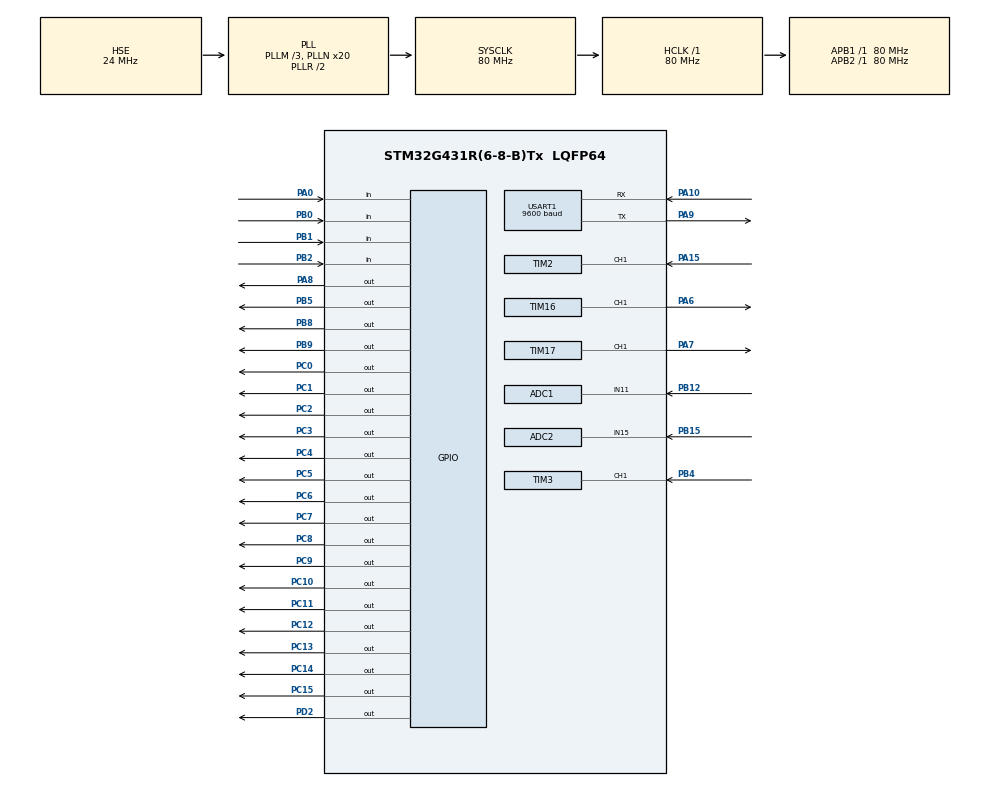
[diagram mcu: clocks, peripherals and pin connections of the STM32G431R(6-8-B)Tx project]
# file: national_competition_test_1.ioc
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ADC1.Channel-0\#ChannelRegularConversion=ADC_CHANNEL_11
ADC1.ContinuousConvMode=ENABLE
ADC1.NbrOfConversionFlag=1
ADC1.OffsetNumber-0\#ChannelRegularConversion=ADC_OFFSET_NONE
ADC1.Overrun=ADC_OVR_DATA_OVERWRITTEN
ADC1.Rank-0\#ChannelRegularConversion=1
ADC1.SamplingTime-0\#ChannelRegularConversion=ADC_SAMPLETIME_247CYCLES_5
ADC1.master=1
ADC2.Channel-0\#ChannelRegularConversion=ADC_CHANNEL_15
ADC2.ContinuousConvMode=ENABLE
ADC2.NbrOfConversionFlag=1
ADC2.OffsetNumber-0\#ChannelRegularConversion=ADC_OFFSET_NONE
ADC2.Overrun=ADC_OVR_DATA_OVERWRITTEN
ADC2.Rank-0\#ChannelRegularConversion=1
ADC2.SamplingTime-0\#ChannelRegularConversion=ADC_SAMPLETIME_247CYCLES_5
Mcu.Family=STM32G4
Mcu.Name=STM32G431R(6-8-B)Tx
Mcu.Package=LQFP64
NVIC.PriorityGroup=NVIC_PRIORITYGROUP_4
NVIC.TIM2_IRQn=true\:0\:0\:false\:false\:true\:true\:true\:true
NVIC.TIM3_IRQn=true\:0\:0\:false\:false\:true\:true\:true\:true
NVIC.TIM7_IRQn=true\:0\:0\:false\:false\:true\:true\:true\:true
NVIC.USART1_IRQn=true\:0\:0\:false\:false\:true\:true\:true\:true
PA0.Signal=GPIO_Input
PA10.Mode=Asynchronous
PA10.Signal=USART1_RX
PA13.Mode=Serial_Wire
PA13.Signal=SYS_JTMS-SWDIO
PA14.Mode=Serial_Wire
PA14.Signal=SYS_JTCK-SWCLK
PA15.Signal=S_TIM2_CH1
PA6.Signal=S_TIM16_CH1
PA7.Signal=S_TIM17_CH1
PA8.Signal=GPIO_Output
PA9.Mode=Asynchronous
PA9.Signal=USART1_TX
PB0.Signal=GPIO_Input
PB1.Signal=GPIO_Input
PB12.Mode=IN11-Single-Ended
PB12.Signal=ADC1_IN11
PB15.Mode=IN15-Single-Ended
PB15.Signal=ADC2_IN15
PB2.Signal=GPIO_Input
PB4.Signal=S_TIM3_CH1
PB5.Signal=GPIO_Output
PB8-BOOT0.Signal=GPIO_Output
PB9.Signal=GPIO_Output
PC0.Signal=GPIO_Output
PC1.Signal=GPIO_Output
PC10.Signal=GPIO_Output
PC11.Signal=GPIO_Output
PC12.Signal=GPIO_Output
PC13.Signal=GPIO_Output
PC14-OSC32_IN.Signal=GPIO_Output
PC15-OSC32_OUT.Signal=GPIO_Output
PC2.Signal=GPIO_Output
PC3.Signal=GPIO_Output
PC4.Signal=GPIO_Output
PC5.Signal=GPIO_Output
PC6.Signal=GPIO_Output
PC7.Signal=GPIO_Output
PC8.Signal=GPIO_Output
PC9.Signal=GPIO_Output
PD2.Signal=GPIO_Output
PF0-OSC_IN.Mode=HSE-External-Oscillator
PF0-OSC_IN.Signal=RCC_OSC_IN
PF1-OSC_OUT.Mode=HSE-External-Oscillator
PF1-OSC_OUT.Signal=RCC_OSC_OUT
ProjectManager.HeapSize=0x200
ProjectManager.StackSize=0x400
ProjectManager.TargetToolchain=MDK-ARM V5.32
RCC.ADC12Freq_Value=80000000
RCC.AHBFreq_Value=80000000
RCC.APB1Freq_Value=80000000
RCC.APB1TimFreq_Value=80000000
RCC.APB2Freq_Value=80000000
RCC.APB2TimFreq_Value=80000000
RCC.CortexFreq_Value=80000000
RCC.EXTERNAL_CLOCK_VALUE=12288000
RCC.HCLKFreq_Value=80000000
RCC.HSE_VALUE=24000000
RCC.HSI48_VALUE=48000000
RCC.HSI_VALUE=16000000
RCC.LSE_VALUE=32768
RCC.PLLM=RCC_PLLM_DIV3
RCC.PLLN=20
RCC.PLLSourceVirtual=RCC_PLLSOURCE_HSE
RCC.SYSCLKFreq_VALUE=80000000
RCC.SYSCLKSource=RCC_SYSCLKSOURCE_PLLCLK
RCC.USBFreq_Value=80000000
RCC.VCOOutputFreq_Value=160000000
RTC.Date=15
RTC.Format=RTC_FORMAT_BIN
RTC.Hours=23
RTC.Minutes=59
RTC.Month=RTC_MONTH_JUNE
RTC.Seconds=50
RTC.Year=25
SH.S_TIM16_CH1.0=TIM16_CH1,PWM Generation1 CH1
SH.S_TIM17_CH1.0=TIM17_CH1,PWM Generation1 CH1
SH.S_TIM2_CH1.0=TIM2_CH1,Input_Capture1_from_TI1
SH.S_TIM3_CH1.0=TIM3_CH1,Input_Capture1_from_TI1
TIM16.Channel=TIM_CHANNEL_1
TIM16.PeriodNoDither=100-1
TIM17.Channel=TIM_CHANNEL_1
TIM17.PeriodNoDither=100-1
TIM2.Channel-Input_Capture1_from_TI1=TIM_CHANNEL_1
TIM2.Prescaler=80-1
TIM3.Channel-Input_Capture1_from_TI1=TIM_CHANNEL_1
TIM3.Prescaler=80-1
TIM7.PeriodNoDither=1000-1
TIM7.Prescaler=80-1
USART1.BaudRate=9600
USART1.VirtualMode-Asynchronous=VM_ASYNC
VP_RTC_VS_RTC_Activate.Mode=RTC_Enabled
VP_RTC_VS_RTC_Calendar.Mode=RTC_Calendar
VP_SYS_VS_DBSignals.Mode=DisableDeadBatterySignals
VP_TIM16_VS_ClockSourceINT.Mode=Enable_Timer
VP_TIM17_VS_ClockSourceINT.Mode=Enable_Timer
VP_TIM2_VS_ClockSourceINT.Mode=Internal
VP_TIM3_VS_ClockSourceINT.Mode=Internal
VP_TIM7_VS_ClockSourceINT.Mode=Enable_Timer
board=custom

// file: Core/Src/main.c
/* USER CODE BEGIN Header */
/**
  ******************************************************************************
  * @file           : main.c
  * @brief          : Main program body
  ******************************************************************************
  * @attention
  *
  * Copyright (c) 2026 STMicroelectronics.
  * All rights reserved.
  *
  * This software is licensed under terms that can be found in the LICENSE file
  * in the root directory of this software component.
  * If no LICENSE file comes with this software, it is provided AS-IS.
  *
  ******************************************************************************
  */
/* USER CODE END Header */
#include "main.h"
#include "adc.h"
#include "rtc.h"
#include "tim.h"
#include "usart.h"
#include "gpio.h"

/* USER CODE BEGIN Includes */
#include "key.h"
#include "led.h"
#include "lcd.h"
#include "tim_interruct.h"
#include <stdio.h>
#include "my_adc.h"
#include "tim_ic.h"
#include "my_uart.h"
#include <string.h>
/* USER CODE END Includes */

/* USER CODE BEGIN PD */

//lcd_mode		3
#define recn_ST		0
#define recn_FT		1

/* USER CODE END PD */

/* USER CODE BEGIN PV */
extern uint8_t tx_buf[20];

//lcd_mode	0
uint8_t digit_255;
uint8_t secret_show_temp,secret_show_temp_old;
uint8_t secret_real[10] = {'A','3','5','#',' ',' ',' ',' ',' ',' '};
uint8_t secret_buf[11] = {' ',' ',' ',' ',' ',' ',' ',' ',' ',' '};
uint8_t secret_index;
uint8_t cmp_flag;
uint8_t call_signal;

//lcd_mode	1
uint8_t lcd_mode_1_para_select;

uint8_t F_show = 10;

uint8_t T_show = 5;

uint8_t CH_show = PWM_PA6;

uint8_t D_show = 20;

//lcd_mode	2
uint8_t F = 10;
uint8_t CH = PWM_PA6;
uint8_t T = 5;
uint8_t OD;
double OF;

double R38_convert_to_F;
double CF;

uint8_t secret_verify_flag;
uint8_t RETRY = 4;
uint8_t WAIT;
uint8_t lcd_mode_2_lock_flag;

uint8_t lcd_mode_2_lock_3000ms_flag;

//
uint8_t lcd_mode;
uint8_t lcd_fuc_slow,lcd_fuc_flag;
uint8_t lcd_buf[20];

uint8_t lcd_line_4_clear_flag;

//lcd_mode	3
uint8_t recn_h[2],recn_m[2],recn_s[2];
uint16_t recn_OF[2];
uint8_t ST_flag,FT_flag;
uint8_t SN,FN;

RTC_TimeTypeDef sTime = {0};
RTC_DateTypeDef sDate = {0};
/* USER CODE END PV */

void SystemClock_Config(void);
/* USER CODE BEGIN PFP */
void key_fuc(void);
void adc_fuc(void);
void lcd_fuc(void);
void read_sercret_temp(void);
/* USER CODE END PFP */

int main(void)
{

  /* MCU Configuration--------------------------------------------------------*/

  /* Reset of all peripherals, Initializes the Flash interface and the Systick. */
  HAL_Init();

  /* Configure the system clock */
  SystemClock_Config();

  /* Initialize all configured peripherals */
  MX_GPIO_Init();
  MX_TIM7_Init();
  MX_ADC1_Init();
  MX_ADC2_Init();
  MX_TIM2_Init();
  MX_TIM3_Init();
  MX_RTC_Init();
  MX_USART1_UART_Init();
  MX_TIM16_Init();
  MX_TIM17_Init();
  /* USER CODE BEGIN 2 */
  led_all_off();
LCD_Init();
HAL_Delay(50);
LCD_SetTextColor(White);
LCD_SetBackColor(Black);
LCD_Clear(Black);
HAL_Delay(50);

tim_interrupt_init();
R37_init();
R38_init();

tim_ic_init();

HAL_UARTEx_ReceiveToIdle_IT(&huart1,rx_buf,50);

read_sercret_temp();
secret_show_temp_old = secret_show_temp;

sprintf((char*)tx_buf,"S:20250244");
  /* USER CODE END 2 */

  /* Infinite loop */
  /* USER CODE BEGIN WHILE */

  while (1)
  {
	  key_fuc();
//	  adc_fuc();
	  lcd_fuc();
    /* USER CODE END WHILE */

  }
}

void SystemClock_Config(void)
{
  RCC_OscInitTypeDef RCC_OscInitStruct = {0};
  RCC_ClkInitTypeDef RCC_ClkInitStruct = {0};

  /** Configure the main internal regulator output voltage
  */
  HAL_PWREx_ControlVoltageScaling(PWR_REGULATOR_VOLTAGE_SCALE1);

  /** Initializes the RCC Oscillators according to the specified parameters
  * in the RCC_OscInitTypeDef structure.
  */
  RCC_OscInitStruct.OscillatorType = RCC_OSCILLATORTYPE_LSI|RCC_OSCILLATORTYPE_HSE;
  RCC_OscInitStruct.HSEState = RCC_HSE_ON;
  RCC_OscInitStruct.LSIState = RCC_LSI_ON;
  RCC_OscInitStruct.PLL.PLLState = RCC_PLL_ON;
  RCC_OscInitStruct.PLL.PLLSource = RCC_PLLSOURCE_HSE;
  RCC_OscInitStruct.PLL.PLLM = RCC_PLLM_DIV3;
  RCC_OscInitStruct.PLL.PLLN = 20;
  RCC_OscInitStruct.PLL.PLLP = RCC_PLLP_DIV2;
  RCC_OscInitStruct.PLL.PLLQ = RCC_PLLQ_DIV2;
  RCC_OscInitStruct.PLL.PLLR = RCC_PLLR_DIV2;
  if (HAL_RCC_OscConfig(&RCC_OscInitStruct) != HAL_OK)
  {
    Error_Handler();
  }

  /** Initializes the CPU, AHB and APB buses clocks
  */
  RCC_ClkInitStruct.ClockType = RCC_CLOCKTYPE_HCLK|RCC_CLOCKTYPE_SYSCLK
                              |RCC_CLOCKTYPE_PCLK1|RCC_CLOCKTYPE_PCLK2;
  RCC_ClkInitStruct.SYSCLKSource = RCC_SYSCLKSOURCE_PLLCLK;
  RCC_ClkInitStruct.AHBCLKDivider = RCC_SYSCLK_DIV1;
  RCC_ClkInitStruct.APB1CLKDivider = RCC_HCLK_DIV1;
  RCC_ClkInitStruct.APB2CLKDivider = RCC_HCLK_DIV1;

  if (HAL_RCC_ClockConfig(&RCC_ClkInitStruct, FLASH_LATENCY_2) != HAL_OK)
  {
    Error_Handler();
  }
}

/* USER CODE BEGIN 4 */
void lcd_fuc(void)
{
	if(lcd_fuc_flag)
	{
		lcd_fuc_flag = 0;

		R38_val = HAL_ADC_GetValue(&hadc1);//4015

		if(lcd_line_4_clear_flag == 1)
		{
			lcd_line_4_clear_flag = 0;
			LCD_Clear(Black);
		}

//		sprintf((char*)lcd_buf,"  R38:%d   ",R38_val);
//		LCD_DisplayStringLine(Line7,lcd_buf);

		if(cmp_flag == 1)
		{
			if(CH == PWM_PA6)
			{
				HAL_TIM_PWM_Stop(&htim17,TIM_CHANNEL_1);
				HAL_TIM_PWM_Start(&htim16,TIM_CHANNEL_1);
				__HAL_TIM_SET_COMPARE(&htim16,TIM_CHANNEL_1,OD);
				__HAL_TIM_SET_PRESCALER(&htim16,(80000000.0/(100.0*OF))-1);
			}
			else if(CH == PWM_PA7)
			{
				HAL_TIM_PWM_Stop(&htim16,TIM_CHANNEL_1);
				HAL_TIM_PWM_Start(&htim17,TIM_CHANNEL_1);
				__HAL_TIM_SET_COMPARE(&htim17,TIM_CHANNEL_1,OD);
				__HAL_TIM_SET_PRESCALER(&htim17,(80000000.0/(100.0*OF))-1);
			}
		}
		else
		{
			HAL_TIM_PWM_Stop(&htim16,TIM_CHANNEL_1);
			HAL_TIM_PWM_Stop(&htim17,TIM_CHANNEL_1);
		}

		if(lcd_mode == 0)
		{
			sprintf((char*)lcd_buf,"       IDLE   ");
			LCD_DisplayStringLine(Line1,lcd_buf);

			read_sercret_temp();

			if(secret_show_temp != secret_show_temp_old)
			{
				secret_buf[secret_index] = secret_show_temp;
			}

			sprintf((char*)lcd_buf,"     UN:%s ",secret_buf);
			LCD_DisplayStringLine(Line3,lcd_buf);

			secret_show_temp_old = secret_show_temp;

			HAL_RTC_GetTime(&hrtc,&sTime,RTC_FORMAT_BIN);
			HAL_RTC_GetDate(&hrtc,&sDate,RTC_FORMAT_BIN);

			sprintf((char*)lcd_buf,"     %.2d-%.2d-%.2d   ",sDate.Year,sDate.Month,sDate.Date);
			LCD_DisplayStringLine(Line5,lcd_buf);

			sprintf((char*)lcd_buf,"     %.2d:%.2d:%.2d   ",sTime.Hours,sTime.Minutes,sTime.Seconds);
			LCD_DisplayStringLine(Line6,lcd_buf);
		}
		else if(lcd_mode == 1)
		{
			sprintf((char*)lcd_buf,"       PARA   ");
			LCD_DisplayStringLine(Line1,lcd_buf);

			sprintf((char*)lcd_buf,"     F:%dKHz   ",F_show);
			LCD_DisplayStringLine(Line3,lcd_buf);

			sprintf((char*)lcd_buf,"     D:%d%%   ",D_show);
			LCD_DisplayStringLine(Line4,lcd_buf);

			sprintf((char*)lcd_buf,"     T:%d   ",T_show);
			LCD_DisplayStringLine(Line5,lcd_buf);

			if(CH_show == PWM_PA6)
			{
				sprintf((char*)lcd_buf,"     CH:PA6   ");
				LCD_DisplayStringLine(Line6,lcd_buf);
			}
			else if(CH_show == PWM_PA7)
			{
				sprintf((char*)lcd_buf,"     CH:PA7   ");
				LCD_DisplayStringLine(Line6,lcd_buf);
			}

		}
		else if(lcd_mode == 2)
		{
			if(secret_verify_flag == 1)
			{
				sprintf((char*)lcd_buf,"       OUTP   ");
				LCD_DisplayStringLine(Line1,lcd_buf);

				sprintf((char*)lcd_buf,"     T:%.2d   ",T);
				LCD_DisplayStringLine(Line3,lcd_buf);

				if(R38_val > 4015)
					R38_val = 4015;

				R38_convert_to_F = ((double)R38_val/4015.0*3.3)*(1000.0/3.3)-500.0;

				OF = R38_convert_to_F/1000.0 + F;

				sprintf((char*)lcd_buf,"     OF:%.1fKHz   ",OF);
				LCD_DisplayStringLine(Line4,lcd_buf);

				sprintf((char*)lcd_buf,"     OD:%d%%   ",OD);
				LCD_DisplayStringLine(Line5,lcd_buf);

				CF = R39_val;

				sprintf((char*)lcd_buf,"     CF:%.1fKHz   ",CF/1000.0);
				LCD_DisplayStringLine(Line6,lcd_buf);

			}
			else if(secret_verify_flag == 0)
			{
				if(RETRY != 0)
				{
					sprintf((char*)lcd_buf,"       OUTP   ");
					LCD_DisplayStringLine(Line1,lcd_buf);

					sprintf((char*)lcd_buf,"       FAIL   ");
					LCD_DisplayStringLine(Line3,lcd_buf);

					sprintf((char*)lcd_buf,"      RETRY:%d   ",RETRY);
					LCD_DisplayStringLine(Line4,lcd_buf);

					LCD_ClearLine(Line5);
				}
				else if(RETRY == 0)
				{
					sprintf((char*)lcd_buf,"       OUTP   ");
					LCD_DisplayStringLine(Line1,lcd_buf);

					sprintf((char*)lcd_buf,"       LOCK   ");
					LCD_DisplayStringLine(Line3,lcd_buf);

					sprintf((char*)lcd_buf,"      RETRY:%d   ",RETRY);
					LCD_DisplayStringLine(Line4,lcd_buf);

					sprintf((char*)lcd_buf,"      WAIT:%.2d   ",WAIT);
					LCD_DisplayStringLine(Line5,lcd_buf);
				}

			}

		}
		else if(lcd_mode == 3)
		{
			sprintf((char*)lcd_buf,"       RECD   ");
			LCD_DisplayStringLine(Line1,lcd_buf);

			if(SN == 0)
			{
				sprintf((char*)lcd_buf,"  SN=NA   ");
				LCD_DisplayStringLine(Line3,lcd_buf);
			}
			else
			{
				sprintf((char*)lcd_buf,"  SN=%d   ",SN);
				LCD_DisplayStringLine(Line3,lcd_buf);
			}

			if(ST_flag == 0)
			{
				sprintf((char*)lcd_buf,"  ST=NA   ");
				LCD_DisplayStringLine(Line4,lcd_buf);
			}
			else
			{
				sprintf((char*)lcd_buf,"  ST=%.1f@%.2d:%.2d:%.2d   ",(double)recn_OF[recn_ST]/1000.0,recn_h[recn_ST],recn_m[recn_ST],recn_s[recn_ST]);
				LCD_DisplayStringLine(Line4,lcd_buf);
			}

			if(FN == 0)
			{
				sprintf((char*)lcd_buf,"  FN=NA   ");
				LCD_DisplayStringLine(Line5,lcd_buf);
			}
			else
			{
				sprintf((char*)lcd_buf,"  FN=%d   ",FN);
				LCD_DisplayStringLine(Line5,lcd_buf);
			}

			if(FT_flag == 0)
			{
				sprintf((char*)lcd_buf,"  FT=NA   ");
				LCD_DisplayStringLine(Line6,lcd_buf);
			}
			else
			{
				sprintf((char*)lcd_buf,"  FT=%.1f@%.2d:%.2d:%.2d   ",(double)recn_OF[recn_FT]/1000.0,recn_h[recn_FT],recn_m[recn_FT],recn_s[recn_FT]);
				LCD_DisplayStringLine(Line6,lcd_buf);
			}

		}
	}
}

void key_fuc(void)
{
	if(key_fuc_flag)
	{
		key_fuc_flag = 0;

		if(key[0].press_temp == 1)
		{
			key[0].press_temp = 0;

			if(lcd_mode != 2)
				LCD_Clear(Black);

			if(lcd_mode == 0)
			{
				lcd_mode = 1;
				lcd_mode_1_para_select = 0;
			}
			else if(lcd_mode == 1)
				lcd_mode = 3;
			else if(lcd_mode == 3)
			{
				lcd_mode = 0;
				secret_buf[secret_index] = ' ';
			}

		}
		else if(key[1].press_temp == 1)
		{
			key[1].press_temp = 0;

			if(lcd_mode == 0)
			{
				if(secret_buf[secret_index] != ' ')
				{
					if(++secret_index == 10)
						secret_index = 9;
				}
				else
				{
					if(secret_index == 0)
					{
						secret_buf[0] = secret_show_temp;
						secret_show_temp_old = secret_show_temp;
						secret_index++;
					}
				}
			}
			else if(lcd_mode == 1)
			{
				if(++lcd_mode_1_para_select == 4)
					lcd_mode_1_para_select = 0;
			}
		}
		else if(key[2].press_temp == 1)
		{
			key[2].press_temp = 0;
			if(lcd_mode == 0)
			{
				uint8_t i;
				cmp_flag = 1;
				for(i=0;i<10;i++)//У������
				{
					if(secret_buf[i] != secret_real[i])
					{
						cmp_flag = 0;
						break;
					}
				}
				if(cmp_flag == 1)//������ȷ
				{
					T = T_show;
					OD = D_show;
					F = F_show;
					CH = CH_show;

					LCD_Clear(Black);
					lcd_mode = 2;
					secret_verify_flag = 1;

					HAL_RTC_GetTime(&hrtc,&sTime,RTC_FORMAT_BIN);
					HAL_RTC_GetDate(&hrtc,&sDate,RTC_FORMAT_BIN);

					SN++;
					ST_flag = 1;

					recn_h[recn_ST] = sTime.Hours;
					recn_m[recn_ST] = sTime.Minutes;
					recn_s[recn_ST] = sTime.Seconds;

					recn_OF[recn_ST] = R39_val;

					sprintf((char*)tx_buf,"S:%.2d%.2d%.2d%.2d%.2d%.2d",sDate.Year,sDate.Month,sDate.Date,sTime.Hours,sTime.Minutes,sTime.Seconds);
					HAL_UART_Transmit_IT(&huart1,tx_buf,14);
				}
				else//�������
				{
					LCD_Clear(Black);
					lcd_mode = 2;
					secret_verify_flag = 0;

					lcd_mode_2_lock_3000ms_flag = 1;

					HAL_RTC_GetTime(&hrtc,&sTime,RTC_FORMAT_BIN);
					HAL_RTC_GetDate(&hrtc,&sDate,RTC_FORMAT_BIN);

					FN++;
					FT_flag = 1;

					recn_h[recn_FT] = sTime.Hours;
					recn_m[recn_FT] = sTime.Minutes;
					recn_s[recn_FT] = sTime.Seconds;

					recn_OF[recn_FT] = R39_val;

					sprintf((char*)tx_buf,"F:%.2d%.2d%.2d%.2d%.2d%.2d",sDate.Year,sDate.Month,sDate.Date,sTime.Hours,sTime.Minutes,sTime.Seconds);
					HAL_UART_Transmit_IT(&huart1,tx_buf,14);

					RETRY--;
					if(RETRY == 0)
					{
						WAIT = 10;
						lcd_mode_2_lock_flag = 1;
					}
				}
			}
			else if(lcd_mode == 2)
			{
				if(lcd_mode_2_lock_flag == 0 && lcd_mode_2_lock_3000ms_flag == 0)
				{
					if(RETRY != 0)
					{
						lcd_mode = 0;
						LCD_Clear(Black);
					}
				}
			}
			else if(lcd_mode == 1)
			{
				if(lcd_mode_1_para_select == 0)
				{
					F_show++;
					if(F_show > 100)
						F_show = 100;
				}
				else if(lcd_mode_1_para_select == 1)
				{
					D_show += 5;
					if(D_show >= 100)
						D_show = 100;
				}
				else if(lcd_mode_1_para_select == 2)
				{
					T_show++;
				}
				else if(lcd_mode_1_para_select == 3)
				{
					if(CH_show == PWM_PA6)
						CH_show = PWM_PA7;
					else
						CH_show = PWM_PA6;
				}
			}
		}
		else if(key[3].press_temp == 1)
		{
			key[3].press_temp = 0;
			if(lcd_mode == 1)
			{
				if(lcd_mode_1_para_select == 0)
				{
					F_show--;
					if(F_show >= 200)
						F_show = 0;
				}
				else if(lcd_mode_1_para_select == 1)
				{
					D_show -= 5;
					if(D_show >= 200)
						D_show = 0;
				}
				else if(lcd_mode_1_para_select == 2)
				{
					T_show--;
					if(T_show >= 200)
						T_show = 200;
				}
				else if(lcd_mode_1_para_select == 3)
				{
					if(CH_show == PWM_PA6)
						CH_show = PWM_PA7;
					else
						CH_show = PWM_PA6;
				}
			}
		}

		if(key[0].press_long == 1)
		{
			key[0].press_long = 0;

			sprintf((char*)lcd_buf,"       Hello   ");
			LCD_DisplayStringLine(Line1,lcd_buf);
		}
		else if(key[1].press_long == 1)
		{
			key[1].press_long = 0;

			if(lcd_mode == 0)
			{
				secret_index = 0;
				uint8_t i;
				for(i=0;i<10;i++)
				{
					secret_buf[i] = ' ';
				}
			}
		}

		if(key[3].press_long == 1 && lcd_mode == 0)
		{
			key[3].press_long = 0;
			call_signal = 1;
		}
		else if(key[3].press_long == 0)
		{
			if(HAL_GPIO_ReadPin(GPIOA,GPIO_PIN_0) == GPIO_PIN_SET)call_signal = 0;
		}

	}
}

void adc_fuc(void)
{
	if(adc_fuc_flag)
	{
		adc_fuc_flag = 0;

		R37_val = HAL_ADC_GetValue(&hadc2);
		R38_val = HAL_ADC_GetValue(&hadc1);

		sprintf((char*)lcd_buf,"  R37:%d   ",R37_val);
		LCD_DisplayStringLine(Line3,lcd_buf);

		sprintf((char*)lcd_buf,"  R38:%d   ",R38_val);
		LCD_DisplayStringLine(Line4,lcd_buf);

		sprintf((char*)lcd_buf,"  R39:%d   ",R39_val);
		LCD_DisplayStringLine(Line5,lcd_buf);

		sprintf((char*)lcd_buf,"  R40:%d   ",R40_val);
		LCD_DisplayStringLine(Line6,lcd_buf);

	}
}

void read_sercret_temp(void)
{
	R37_val = HAL_ADC_GetValue(&hadc2);
	if(R37_val >= 4020)
	R37_val = 4020;

	digit_255 = (double)R37_val/4020.0*255.0;

	if(digit_255 <= 9)
	secret_show_temp = '0';
	else if(digit_255 >= 9 && digit_255 <= 19)
	secret_show_temp = '1';
	else if(digit_255 >= 20 && digit_255 <= 29)
	secret_show_temp = '2';
	else if(digit_255 >= 30 && digit_255 <= 39)
	secret_show_temp = '3';
	else if(digit_255 >= 40 && digit_255 <= 49)
	secret_show_temp = '4';
	else if(digit_255 >= 50 && digit_255 <= 59)
	secret_show_temp = '5';
	else if(digit_255 >= 60 && digit_255 <= 69)
	secret_show_temp = '6';
	else if(digit_255 >= 70 && digit_255 <= 79)
	secret_show_temp = '7';
	else if(digit_255 >= 80 && digit_255 <= 89)
	secret_show_temp = '8';
	else if(digit_255 >= 90 && digit_255 <= 99)
	secret_show_temp = '9';
	else if(digit_255 >= 100 && digit_255 <= 109)
	secret_show_temp = 'A';
	else if(digit_255 >= 110 && digit_255 <= 119)
	secret_show_temp = 'B';
	else if(digit_255 >= 120 && digit_255 <= 129)
	secret_show_temp = 'C';
	else if(digit_255 >= 130 && digit_255 <= 139)
	secret_show_temp = 'D';
	else if(digit_255 >= 140 && digit_255 <= 149)
	secret_show_temp = 'E';
	else if(digit_255 >= 150 && digit_255 <= 159)
	secret_show_temp = 'F';
	else if(digit_255 >= 160 && digit_255 <= 169)
	secret_show_temp = 'X';
	else if(digit_255 >= 170 && digit_255 <= 179)
	secret_show_temp = 'Y';
	else if(digit_255 >= 180 && digit_255 <= 189)
	secret_show_temp = 'Z';
	else if(digit_255 >= 190 && digit_255 <= 199)
	secret_show_temp = '@';
	else if(digit_255 >= 200 && digit_255 <= 209)
	secret_show_temp = '#';
	else if(digit_255 >= 210 && digit_255 <= 219)
	secret_show_temp = '$';
	else if(digit_255 >= 220 && digit_255 <= 229)
	secret_show_temp = '%';
	else if(digit_255 >= 230 && digit_255 <= 239)
	secret_show_temp = '&';
	else if(digit_255 >= 240 && digit_255 <= 249)
	secret_show_temp = '=';
	else if(digit_255 >= 250 && digit_255 <= 255)
	secret_show_temp = '+';
}

/* USER CODE END 4 */

void Error_Handler(void)
{
  __disable_irq();
  while (1)
  {
  }
}
